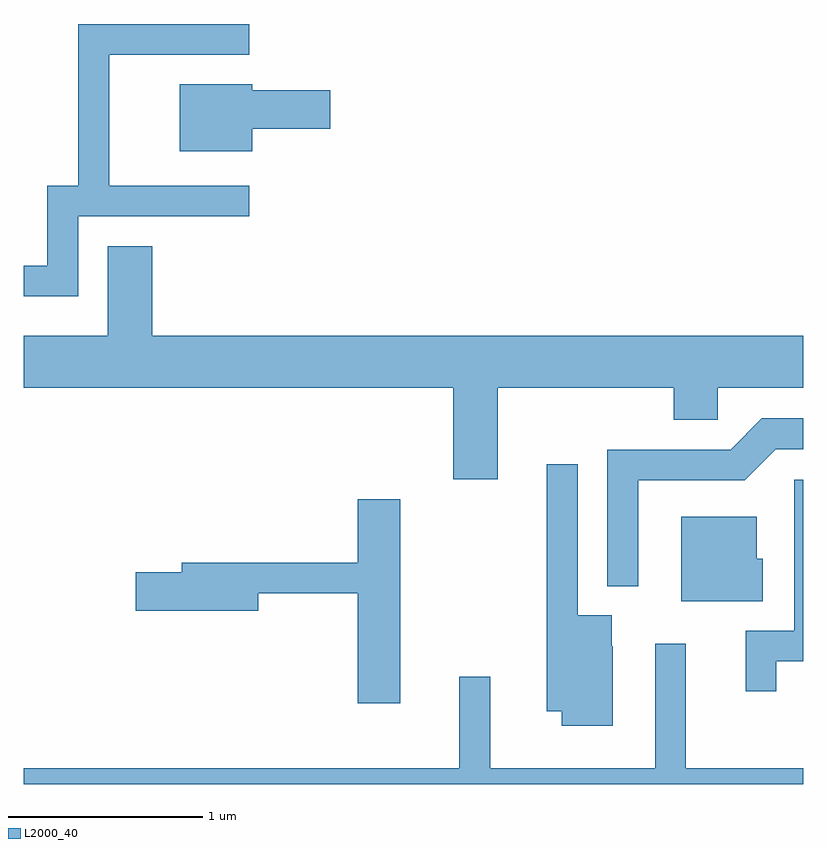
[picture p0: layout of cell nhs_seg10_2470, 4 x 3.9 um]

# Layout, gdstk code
import gdstk
lib = gdstk.Library(unit=1e-6, precision=1e-09)
def P(c, l, *ps):  # polygons
    for p in ps: c.add(gdstk.Polygon(p, *l))
L2000_40 = (2000, 40)

nhs_seg10_2470 = lib.new_cell('nhs_seg10_2470')
P(nhs_seg10_2470, L2000_40, [(257.889,2141.436),(258.767,2141.436),(258.767,2141.594),(258.049,2141.594),(258.049,2142.266),(258.767,2142.266),(258.767,2142.424),(257.891,2142.424),(257.891,2141.594),(257.731,2141.594),(257.731,2141.184),(257.611,2141.184),(257.611,2141.026),(257.889,2141.026)],
  [(258.784,2141.886),(259.184,2141.886),(259.184,2142.084),(258.784,2142.084),(258.784,2142.114),(258.411,2142.114),(258.411,2141.771),(258.784,2141.771)],
  [(260.044,2140.556),(260.946,2140.556),(260.946,2140.391),(261.174,2140.391),(261.174,2140.556),(261.611,2140.556),(261.611,2140.824),(258.269,2140.824),(258.269,2141.284),(258.041,2141.284),(258.041,2140.824),(257.611,2140.824),(257.611,2140.556),(259.816,2140.556),(259.816,2140.086),(260.044,2140.086)],
  [(260.764,2140.081),(261.312,2140.081),(261.472,2140.241),(261.611,2140.241),(261.611,2140.399),(261.399,2140.399),(261.239,2140.239),(260.606,2140.239),(260.606,2139.538),(260.764,2139.538)],
  [(260.634,2139.23),(260.629,2139.23),(260.629,2139.389),(260.454,2139.389),(260.454,2140.163),(260.296,2140.163),(260.296,2138.896),(260.371,2138.896),(260.371,2138.821),(260.634,2138.821)],
  [(261.474,2139.151),(261.611,2139.151),(261.611,2140.084),(261.566,2140.084),(261.566,2139.309),(261.316,2139.309),(261.316,2138.998),(261.474,2138.998)],
  [(259.544,2139.984),(259.326,2139.984),(259.326,2139.659),(258.421,2139.659),(258.421,2139.609),(258.186,2139.609),(258.186,2139.411),(258.814,2139.411),(258.814,2139.501),(259.326,2139.501),(259.326,2138.936),(259.544,2138.936)],
  [(261.404,2139.679),(261.374,2139.679),(261.374,2139.894),(260.986,2139.894),(260.986,2139.461),(261.404,2139.461)],
  [(261.611,2138.604),(261.009,2138.604),(261.009,2139.243),(260.851,2139.243),(260.851,2138.604),(260.004,2138.604),(260.004,2139.073),(259.846,2139.073),(259.846,2138.604),(257.611,2138.604),(257.611,2138.522),(261.611,2138.522)])

lib.write_gds('nhs_seg10_2470.gds')
